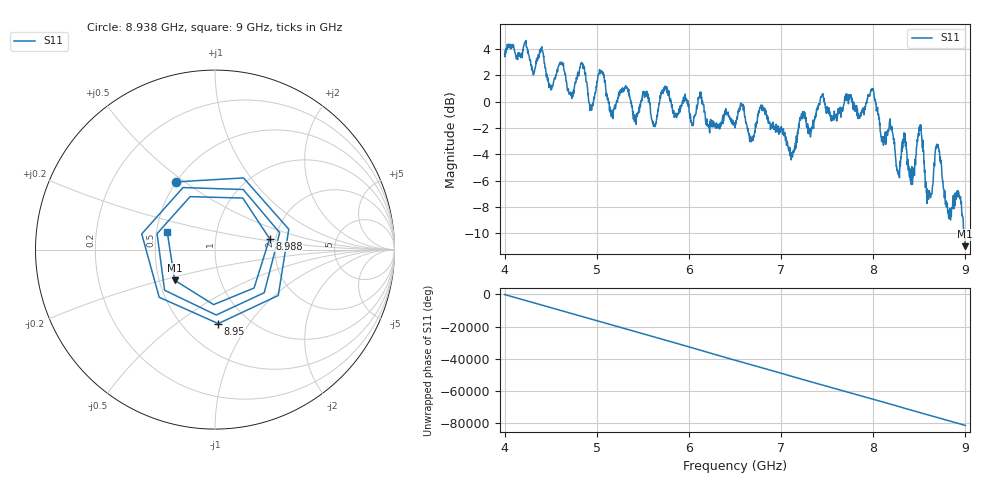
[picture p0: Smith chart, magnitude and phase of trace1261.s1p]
! Created with skrf 1.8.0 (http://scikit-rf.org).
# Hz S RI R 50.0
!freq ReS11 ImS11
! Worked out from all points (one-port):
!   1601 points, 4 GHz to 9 GHz, reference 50 ohm
!   lowest |S11| = -11.0 dB at 8.997 GHz (marker M1), VSWR 1.79, Z = 30.1 - j11.2 ohm
!   |S11| at or under -10 dB: 8.986465 GHz to end of sweep
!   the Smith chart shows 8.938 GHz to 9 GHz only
!   S11 on the Smith chart (normalised r, x): 8.938 GHz: 0.50, +0.47; 8.95 GHz: 0.73, -0.73; 8.988 GHz: 1.85, +0.25; 9 GHz: 0.57, +0.12
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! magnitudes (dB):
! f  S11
! 4 GHz  3.6
! 4.625 GHz  2.8
! 4.725 GHz  0.5
! 4.844 GHz  2.9
! 4.938 GHz  -0.5
! 5.038 GHz  2.3
! 5.162 GHz  -0.7
! 5.25 GHz  0.7
! 5.875 GHz  -1.0
! 6.5 GHz  -2.0
! 6.681 GHz  -2.9
! 6.8 GHz  -0.4
! 7.125 GHz  -4.2
! 7.231 GHz  -1.2
! 7.75 GHz  0.4
! 7.991 GHz  0.9
! 8.1 GHz  -2.9
! 8.375 GHz  -4.5
! 8.428 GHz  -5.7
! 8.506 GHz  -1.8
! 8.6 GHz  -7.4
! 8.694 GHz  -3.3
! 8.819 GHz  -8.9
! 8.938 GHz  -7.2
! 8.95 GHz  -7.7
! 8.988 GHz  -10.2
! 8.997 GHz  -11.0
! 9 GHz  -11.0
